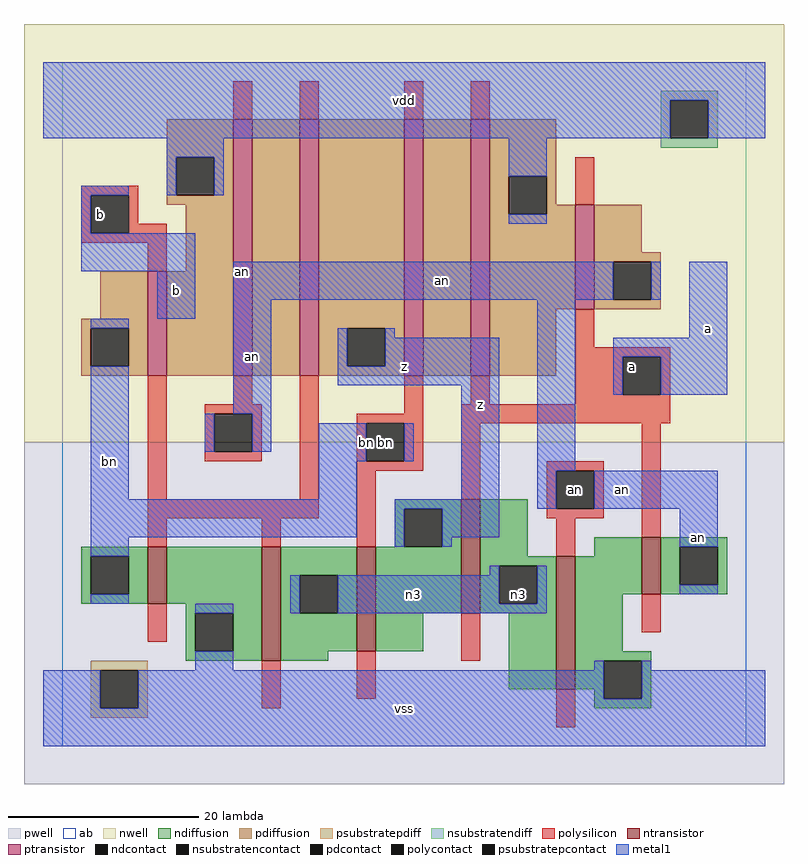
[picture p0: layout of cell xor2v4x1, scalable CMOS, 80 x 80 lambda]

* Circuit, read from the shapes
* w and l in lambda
.subckt xor2v4x1 a an b bn n3 vdd vss z
M1 vss b bn vss nfet w=6 l=2
M2 n3 b vss vss nfet w=12 l=2
M3 z bn n3 vss nfet w=11 l=2
M4 n3 a z vss nfet w=12 l=2
M5 vss an n3 vss nfet w=14 l=2
M6 an a vss vss nfet w=6 l=2
M7 vdd b bn vdd pfet w=11 l=2
M8 n1 an vdd vdd pfet w=27 l=2
M9 z b n1 vdd pfet w=27 l=2
M10 n2 bn z vdd pfet w=27 l=2
M11 vdd a n2 vdd pfet w=27 l=2
M12 an a vdd vdd pfet w=11 l=2
.ends

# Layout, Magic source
magic
tech scmos
<< ab >>
rect 0 0 72 72
<< pwell >>
rect -4 -4 76 32
<< nwell >>
rect -4 32 76 76
<< polysilicon >>
rect 18 66 20 70
rect 25 66 27 70
rect 36 66 38 70
rect 43 66 45 70
rect 2 58 8 59
rect 2 54 3 58
rect 7 55 8 58
rect 7 54 11 55
rect 2 53 11 54
rect 9 50 11 53
rect 54 57 56 62
rect 54 42 56 46
rect 54 41 64 42
rect 9 26 11 39
rect 18 36 20 39
rect 15 35 21 36
rect 15 31 16 35
rect 20 31 21 35
rect 15 30 21 31
rect 25 26 27 39
rect 36 35 38 39
rect 43 36 45 39
rect 54 37 59 41
rect 63 37 64 41
rect 54 36 64 37
rect 9 24 27 26
rect 31 34 38 35
rect 31 30 32 34
rect 36 30 38 34
rect 31 29 38 30
rect 42 34 64 36
rect 9 21 11 24
rect 21 21 23 24
rect 31 21 33 29
rect 42 26 44 34
rect 51 29 57 30
rect 9 11 11 15
rect 51 25 52 29
rect 56 25 57 29
rect 51 24 57 25
rect 52 20 54 24
rect 61 22 63 34
rect 21 4 23 9
rect 31 5 33 10
rect 42 9 44 14
rect 61 12 63 16
rect 52 2 54 6
<< ndiffusion >>
rect 35 25 42 26
rect 35 21 36 25
rect 40 21 42 25
rect 2 20 9 21
rect 2 16 3 20
rect 7 16 9 20
rect 2 15 9 16
rect 11 15 21 21
rect 13 14 21 15
rect 13 10 14 14
rect 18 10 21 14
rect 13 9 21 10
rect 23 18 31 21
rect 23 14 25 18
rect 29 14 31 18
rect 23 10 31 14
rect 33 14 42 21
rect 44 20 49 26
rect 56 20 61 22
rect 44 19 52 20
rect 44 15 46 19
rect 50 15 52 19
rect 44 14 52 15
rect 33 10 38 14
rect 23 9 28 10
rect 47 6 52 14
rect 54 16 61 20
rect 63 21 70 22
rect 63 17 65 21
rect 69 17 70 21
rect 63 16 70 17
rect 54 10 59 16
rect 54 9 62 10
rect 54 6 57 9
rect 56 5 57 6
rect 61 5 62 9
rect 56 4 62 5
<< pdiffusion >>
rect 11 62 18 66
rect 11 58 12 62
rect 16 58 18 62
rect 11 57 18 58
rect 13 50 18 57
rect 4 45 9 50
rect 2 44 9 45
rect 2 40 3 44
rect 7 40 9 44
rect 2 39 9 40
rect 11 39 18 50
rect 20 39 25 66
rect 27 44 36 66
rect 27 40 30 44
rect 34 40 36 44
rect 27 39 36 40
rect 38 39 43 66
rect 45 60 52 66
rect 45 56 47 60
rect 51 57 52 60
rect 51 56 54 57
rect 45 46 54 56
rect 56 52 61 57
rect 56 51 63 52
rect 56 47 58 51
rect 62 47 63 51
rect 56 46 63 47
rect 45 39 52 46
<< metal1 >>
rect -2 68 74 72
rect -2 64 64 68
rect 68 64 74 68
rect 11 62 17 64
rect 2 58 7 59
rect 11 58 12 62
rect 16 58 17 62
rect 47 60 51 64
rect 2 54 3 58
rect 47 55 51 56
rect 2 50 14 54
rect 10 45 14 50
rect 18 47 58 51
rect 62 47 63 51
rect 3 44 7 45
rect 3 26 7 40
rect 18 35 22 47
rect 29 40 30 44
rect 34 43 35 44
rect 34 40 46 43
rect 29 38 46 40
rect 15 31 16 35
rect 20 31 22 35
rect 27 30 32 34
rect 36 30 37 34
rect 27 26 31 30
rect 42 26 46 38
rect 3 22 31 26
rect 35 25 46 26
rect 50 29 54 47
rect 66 43 70 51
rect 58 41 70 43
rect 58 37 59 41
rect 63 37 70 41
rect 50 25 52 29
rect 56 25 69 29
rect 3 20 7 22
rect 35 21 36 25
rect 40 22 46 25
rect 40 21 41 22
rect 65 21 69 25
rect 45 18 46 19
rect 3 15 7 16
rect 14 14 18 15
rect 24 14 25 18
rect 29 15 46 18
rect 50 15 51 19
rect 65 16 69 17
rect 29 14 51 15
rect 14 8 18 10
rect 56 8 57 9
rect -2 4 4 8
rect 8 5 57 8
rect 61 8 62 9
rect 61 5 74 8
rect 8 4 74 5
rect -2 0 74 4
<< ntransistor >>
rect 9 15 11 21
rect 21 9 23 21
rect 31 10 33 21
rect 42 14 44 26
rect 52 6 54 20
rect 61 16 63 22
<< ptransistor >>
rect 9 39 11 50
rect 18 39 20 66
rect 25 39 27 66
rect 36 39 38 66
rect 43 39 45 66
rect 54 46 56 57
<< polycontact >>
rect 3 54 7 58
rect 16 31 20 35
rect 59 37 63 41
rect 32 30 36 34
rect 52 25 56 29
<< ndcontact >>
rect 36 21 40 25
rect 3 16 7 20
rect 14 10 18 14
rect 25 14 29 18
rect 46 15 50 19
rect 65 17 69 21
rect 57 5 61 9
<< pdcontact >>
rect 12 58 16 62
rect 3 40 7 44
rect 30 40 34 44
rect 47 56 51 60
rect 58 47 62 51
<< psubstratepcontact >>
rect 4 4 8 8
<< nsubstratencontact >>
rect 64 64 68 68
<< psubstratepdiff >>
rect 3 8 9 9
rect 3 4 4 8
rect 8 4 9 8
rect 3 3 9 4
<< nsubstratendiff >>
rect 63 68 69 69
rect 63 64 64 68
rect 68 64 69 68
rect 63 63 69 64
<< labels >>
rlabel ptransistor 19 50 19 50 6 an
rlabel polycontact 34 32 34 32 6 bn
rlabel polycontact 54 27 54 27 6 an
rlabel metal1 5 30 5 30 6 bn
rlabel metal1 12 48 12 48 6 b
rlabel polycontact 4 56 4 56 6 b
rlabel metal1 20 41 20 41 6 an
rlabel metal1 36 4 36 4 6 vss
rlabel ndcontact 48 16 48 16 6 n3
rlabel metal1 37 16 37 16 6 n3
rlabel metal1 32 32 32 32 6 bn
rlabel metal1 44 36 44 36 6 z
rlabel metal1 36 40 36 40 6 z
rlabel metal1 36 68 36 68 6 vdd
rlabel metal1 67 22 67 22 6 an
rlabel metal1 59 27 59 27 6 an
rlabel polycontact 60 40 60 40 6 a
rlabel metal1 40 49 40 49 6 an
rlabel metal1 68 44 68 44 6 a
<< end >>
